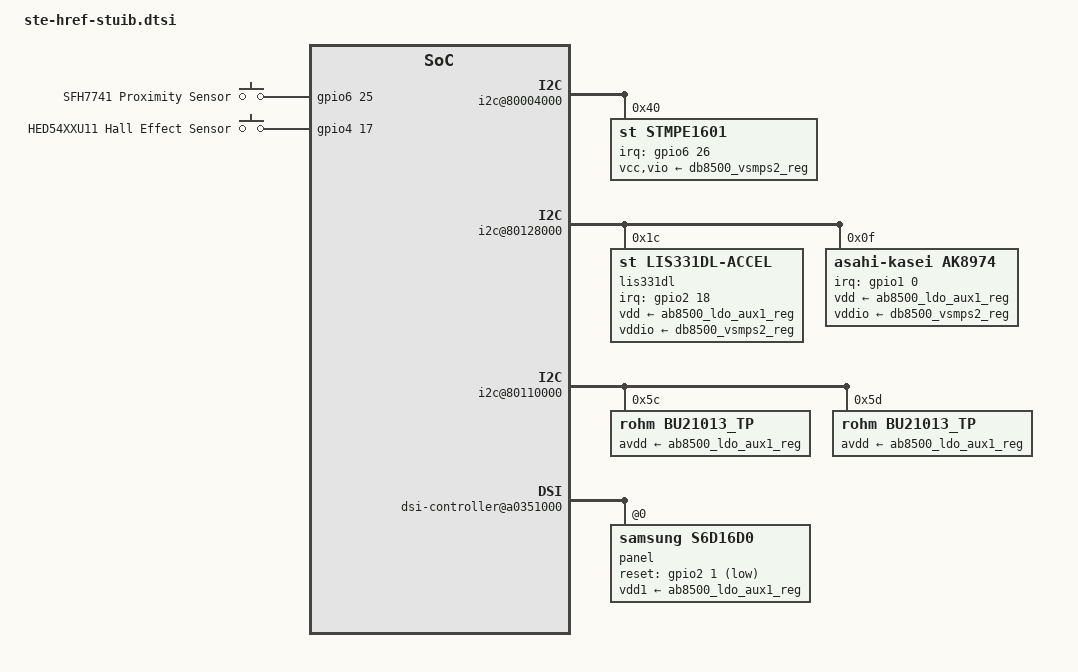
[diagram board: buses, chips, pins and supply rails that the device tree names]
// SPDX-License-Identifier: GPL-2.0-or-later
/*
 * Copyright 2012 ST-Ericsson AB
 */

#include <dt-bindings/interrupt-controller/irq.h>

/ {
	gpio_keys {
		compatible = "gpio-keys";
		#address-cells = <1>;
		#size-cells = <0>;
		vdd-supply = <&ab8500_ldo_aux1_reg>;
		pinctrl-names = "default";
		pinctrl-0 = <&prox_stuib_mode>, <&hall_stuib_mode>;

		button@139 {
			/* Proximity sensor */
			gpios = <&gpio6 25 GPIO_ACTIVE_HIGH>;
			linux,code = <11>; /* SW_FRONT_PROXIMITY */
			label = "SFH7741 Proximity Sensor";
		};
		button@145 {
			/* Hall sensor */
			gpios = <&gpio4 17 GPIO_ACTIVE_HIGH>;
			linux,code = <0>; /* SW_LID */
			label = "HED54XXU11 Hall Effect Sensor";
		};
	};

	soc {
		i2c@80004000 {
			stmpe1601: stmpe1601@40 {
				compatible = "st,stmpe1601";
				reg = <0x40>;
				interrupts = <26 IRQ_TYPE_EDGE_FALLING>;
				interrupt-parent = <&gpio6>;
				interrupt-controller;
				vcc-supply = <&db8500_vsmps2_reg>;
				vio-supply = <&db8500_vsmps2_reg>;
				pinctrl-names = "default";
				pinctrl-0 = <&stmpe_stuib_mode>;

				wakeup-source;
				st,autosleep-timeout = <1024>;

				stmpe_keypad {
					compatible = "st,stmpe-keypad";

					debounce-interval = <64>;
					st,scan-count = <8>;
					st,no-autorepeat;

					linux,keymap = <0x205006b
							0x4010074
							0x3050072
							0x1030004
							0x502006a
							0x500000a
							0x5008b
							0x706001c
							0x405000b
							0x6070003
							0x3040067
							0x303006c
							0x60400e7
							0x602009e
							0x4020073
							0x5050002
							0x4030069
							0x3020008>;
				};
			};
		};

		/* Sensors mounted on this board variant */
		i2c@80128000 {
			lis331dl@1c {
				/* Accelerometer */
				compatible = "st,lis331dl-accel";
				st,drdy-int-pin = <1>;
				reg = <0x1c>;
				vdd-supply = <&ab8500_ldo_aux1_reg>;
				vddio-supply = <&db8500_vsmps2_reg>;
				pinctrl-names = "default";
				pinctrl-0 = <&accel_stuib_mode>;
				interrupt-parent = <&gpio2>;
				interrupts = <18 IRQ_TYPE_EDGE_RISING>,
					     <19 IRQ_TYPE_EDGE_RISING>;
			};
			ak8974@f {
				/* Magnetometer */
				compatible = "asahi-kasei,ak8974";
				reg = <0x0f>;
				vdd-supply = <&ab8500_ldo_aux1_reg>;
				vddio-supply = <&db8500_vsmps2_reg>;
				pinctrl-names = "default";
				pinctrl-0 = <&magneto_stuib_mode>;
				interrupt-parent = <&gpio1>;
				interrupts = <0 IRQ_TYPE_EDGE_RISING>;
			};
		};

		i2c@80110000 {
			bu21013_tp@5c {
				compatible = "rohm,bu21013_tp";
				reg = <0x5c>;
				avdd-supply = <&ab8500_ldo_aux1_reg>;

				rohm,touch-max-x = <384>;
				rohm,touch-max-y = <704>;
				rohm,flip-y;
				pinctrl-names = "default";
				pinctrl-0 = <&touch_rohm_mode>;
			};

			bu21013_tp@5d {
				compatible = "rohm,bu21013_tp";
				reg = <0x5d>;
				avdd-supply = <&ab8500_ldo_aux1_reg>;

				rohm,touch-max-x = <384>;
				rohm,touch-max-y = <704>;
				rohm,flip-y;
				pinctrl-names = "default";
				pinctrl-0 = <&touch_rohm_mode>;
			};
		};

		pinctrl {
			/* Pull up this GPIO pin */
			stmpe {
				stmpe_stuib_mode: stmpe_stuib {
					stuib_cfg {
						ste,pins = "GPIO218_AH11";
						ste,config = <&gpio_in_pu>;
					};
				};
			};
			prox {
				prox_stuib_mode: prox_stuib {
					stuib_cfg {
						pins = "GPIO217_AH12";
						ste,config = <&gpio_in_pu>;
					};
				};
			};
			hall {
				hall_stuib_mode: stuib_tvk {
					stuib_cfg {
						pins = "GPIO145_C13";
						ste,config = <&gpio_in_pu>;
					};
				};
			};
			accelerometer {
				accel_stuib_mode: accel_stuib {
					/* Accelerometer interrupt lines 1 & 2 */
					stuib_cfg {
						pins = "GPIO82_C1", "GPIO83_D3";
						ste,config = <&gpio_in_pu>;
					};
				};
			};
			magnetometer {
				magneto_stuib_mode: magneto_stuib {
					/* Magnetometer uses GPIO 31 and 32, pull these up/down respectively */
					stuib_cfg1 {
						pins = "GPIO31_V3";
						ste,config = <&gpio_in_pu>;
					};
					stuib_cfg2 {
						pins = "GPIO32_V2";
						ste,config = <&gpio_in_pd>;
					};
				};
			};
			touch {
				touch_rohm_mode: touch_rohm {
					/*
					 * ROHM touch screen uses GPIO 143 for
					 * RST1, GPIO 146 for RST2 and
					 * GPIO 67 for interrupts. Pull-up
					 * the IRQ line and drive both
					 * reset signals low.
					 */
					stuib_cfg1 {
						pins = "GPIO143_D12", "GPIO146_D13";
						ste,config = <&gpio_out_lo>;
					};
					stuib_cfg2 {
						pins = "GPIO67_G2";
						ste,config = <&gpio_in_pu>;
					};
				};
			};
		};

		mcde@a0350000 {
			status = "okay";

			dsi-controller@a0351000 {
				panel {
					compatible = "samsung,s6d16d0";
					reg = <0>;
					vdd1-supply = <&ab8500_ldo_aux1_reg>;
					reset-gpios = <&gpio2 1 GPIO_ACTIVE_LOW>;
				};
			};
		};
	};
};
